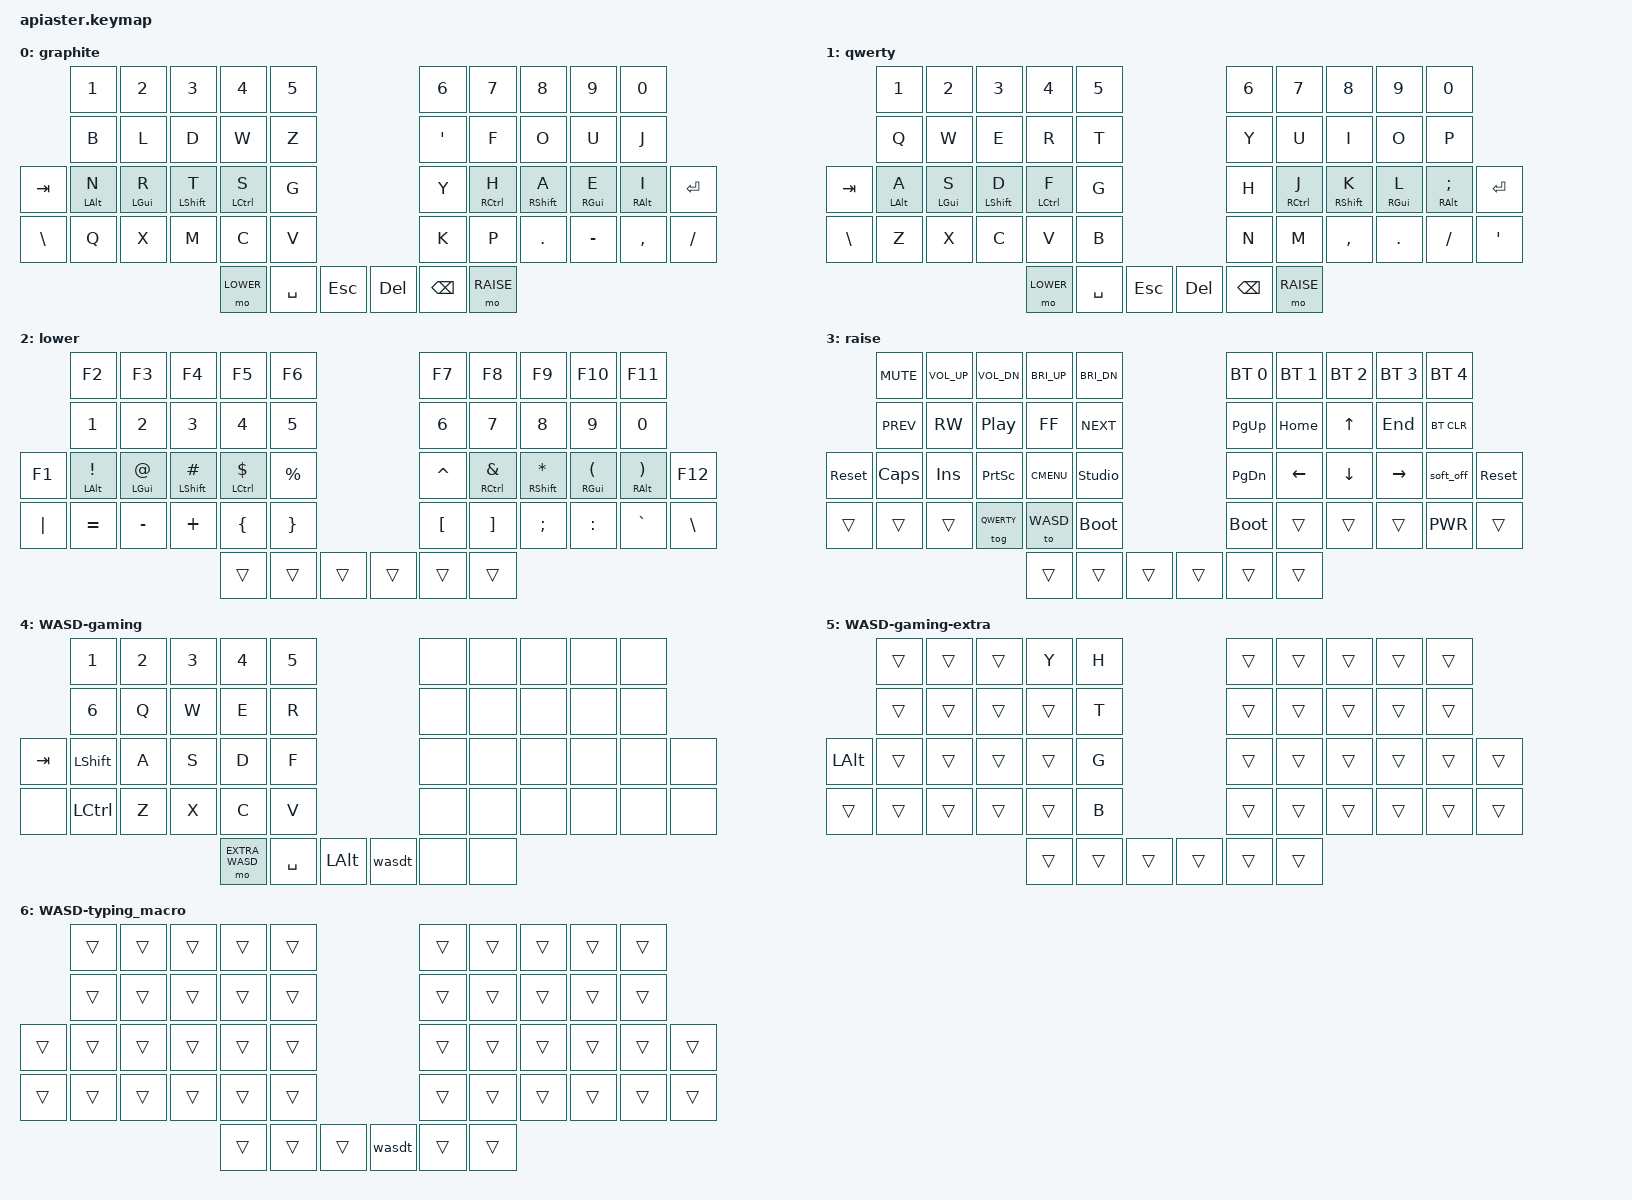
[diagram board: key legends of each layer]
#include <behaviors.dtsi>
#include <dt-bindings/zmk/keys.h>
#include <dt-bindings/zmk/bt.h>

#define BASE 0
#define QWERTY 1
#define LOWER 2
#define RAISE 3
#define WASD 4
#define EXTRA_WASD 5
#define WASD_TYPE 6

#define KEYS_L 0 1 2 3 4 10 11 12 13 14 20 21 22 23 24 25 32 33 34 35 36 37
#define KEYS_R 5 6 7 8 9 15 16 17 18 19 26 27 28 29 30 31 38 39 40 41 42 43
#define THUMBS_L 44 45 46
#define THUMBS_R 47 48 49

/ {    
    macros {
        wasdt: wasd_type {
            compatible = "zmk,behavior-macro";
            #binding-cells = <0>;
            bindings
                = <&macro_tap &tog WASD &tog WASD_TYPE>;
        };
    };

    behaviors {
        hl: home_row_hold_tap_left {
            compatible = "zmk,behavior-hold-tap";
            #binding-cells = <2>;
            flavor = "balanced";
            tapping-term-ms = <280>;
            quick-tap-ms = <175>;                // repeat on tap-into-hold
            require-prior-idle-ms = <150>;
            bindings = <&kp>, <&kp>;
            hold-trigger-key-positions = <KEYS_R THUMBS_R>;
            hold-trigger-on-release;             // delay positional check until key-release
        };

        hr: home_row_hold_tap_right {
            compatible = "zmk,behavior-hold-tap";
            #binding-cells = <2>;
            flavor = "balanced";
            tapping-term-ms = <280>;
            quick-tap-ms = <175>;                // repeat on tap-into-hold
            require-prior-idle-ms = <150>;
            bindings = <&kp>, <&kp>;
            hold-trigger-key-positions = <KEYS_L THUMBS_L>;
            hold-trigger-on-release;             // delay positional check until key-release
        };

        td_rst: reset_tap_dance {
            compatible = "zmk,behavior-tap-dance";
            #binding-cells = <0>;
            tapping-term-ms = <200>;
            bindings = <&sys_reset>, <&bootloader>;
        };
    };

    keymap {
        compatible = "zmk,keymap";

        graphite_layer {
            display-name = "graphite";
// ------------------------------------------------------------------------------------------------------------
//         |   1   |   2   |    3    |   4    |   5   |              |  6  |   7    |    8    |   9   |   0   |       
//         |   B   |   L   |    D    |   W    |   Z   |              |  '  |   F    |    O    |   U   |   J   |        
// |  TAB  | ALT/N | GUI/R | SHIFT/T | CTRL/S |   G   |              |  Y  | CTRL/H | SHIFT/A | GUI/E | ALT/I | ENTER |
// |   \   |   Q   |   X   |    M    |   C    |   V   |              |  K  |   P    |    .    |   -   |   ,   |   /   |
//                                   | LOWER  | SPACE | ESC |  | DEL |BACK | RAISE  | 
            bindings = <
          &kp N1     &kp N2     &kp N3      &kp N4      &kp N5                      &kp N6    &kp N7      &kp N8      &kp N9     &kp N0
          &kp B      &kp L      &kp D       &kp W       &kp Z                       &kp SQT     &kp F       &kp O       &kp U    &kp J
&kp TAB   &hl LALT N &hl LGUI R &hl LSHFT T &hl LCTRL S &kp G                       &kp Y     &hr RCTRL H &hr RSHFT A &hr RGUI E &hr RALT I &kp ENTER
&kp BSLH  &kp Q      &kp X      &kp M       &kp C       &kp V                       &kp K     &kp P       &kp DOT   &kp MINUS    &kp COMMA  &kp FSLH
                                            &mo LOWER   &kp SPACE &kp ESC &kp DEL &kp BSPC &mo RAISE
            >;
        };

        qwerty_layer {
            display-name = "qwerty";
// ------------------------------------------------------------------------------------------------------------
//         |   1   |   2   |    3    |   4    |   5   |              |  6  |   7    |    8    |   9   |   0   |       
//         |   Q   |   W   |    E    |   R    |   T   |              |  Y  |   U    |    I    |   O   |   P   |        
// |  TAB  | ALT/A | GUI/S | SHIFT/D | CTRL/F |   G   |              |  H  | CTRL/J | SHIFT/K | GUI/L | ALT/; | ENTER |
// |   \   |   Z   |   X   |    C    |   V    |   B   |              |  N  |   M    |    ,    |   .   |   /   |   '   |
//                                   | LOWER  | SPACE | ESC |  | DEL |BACK | RAISE  | 
            bindings = <
          &kp N1     &kp N2     &kp N3      &kp N4      &kp N5                      &kp N6    &kp N7      &kp N8      &kp N9     &kp N0
          &kp Q      &kp W      &kp E       &kp R       &kp T                       &kp Y     &kp U       &kp I       &kp O      &kp P
&kp TAB   &hl LALT A &hl LGUI S &hl LSHFT D &hl LCTRL F &kp G                       &kp H     &hr RCTRL J &hr RSHFT K &hr RGUI L &hr RALT SEMI &kp ENTER
&kp BSLH &kp Z      &kp X      &kp C       &kp V       &kp B                       &kp N     &kp M       &kp COMMA   &kp DOT    &kp FSLH      &kp SQT
                                            &mo LOWER   &kp SPACE &kp ESC &kp DEL &kp BSPC &mo RAISE
            >;
        };

        lower_layer {
            display-name = "lower";
// ------------------------------------------------------------------------------------------------------------
// |       |  F1 |  F2 |  F3  |  F4  |  F5  |                   |  F6  |  F7   |  F8   |  F9  |  F10  |       |
// |       |  1  |  2  |  3   |  4   |  5   |                   |  6   |  7    |  8    |  9   |   0   |       |
// |   `   |  !  |  @  |  #   |  $   |  %   |                   |  ^   |  &    |  *    |  (   |   )   |  F11  |
// |   |   |  =  |  -  |  +   |  {   |  }   |                   |  [   |  ]    |  ;    |  :   |   \   |  F12  |
//               |     |      |      |      |        |  |       |      |       |       |      |
            bindings = <
         &kp F2        &kp F3      &kp F4         &kp F5         &kp F6                  &kp F7    &kp F8         &kp F9          &kp F10       &kp F11   
         &kp N1        &kp N2      &kp N3         &kp N4         &kp N5                  &kp N6    &kp N7         &kp N8          &kp N9        &kp N0    
&kp F1   &hl LALT EXCL &hl LGUI AT &hl LSHFT HASH &hl LCTRL DLLR &kp PRCNT               &kp CARET &hr RCTRL AMPS &hr RSHFT ASTRK &hr RGUI LPAR &hr RALT RPAR &kp F12
&kp PIPE &kp EQUAL     &kp MINUS   &kp PLUS       &kp LBRC       &kp RBRC                &kp LBKT  &kp RBKT       &kp SEMI        &kp COLON     &kp GRAVE     &kp BSLH 
                                                   &trans         &trans    &trans &trans &trans    &trans     
            >;
        };

        raise_layer {
            display-name = "raise";
// ------------------------------------------------------------------------------------------------------------
//         | MUTE | VOL+   |  VOL-   | BRI+        |  BRI-  |                |  BT 0 | BT 1 |  BT 2 | BT 3 | BT 4     | 
//         | PREV | REWIND | PAUSE   | FASTFORWARD |  NEXT  |                | PGUP  | HOME |   ^   | END  | BT CLEAR |       
// | reset | CAPS | INS    | PRNTSCR | MENU        | studio |                | PGDN  |   <- |   v   |  ->  |  off     | reset |
// |       |      |        | QWERTY  | WASD        |  boot  |                | boot  |      |       |      |  POWER   | reset |
//                                   |             |        |      |  |      |       |      |
            bindings = <
          &kp C_MUTE &kp C_VOL_UP &kp C_VOL_DN &kp C_BRI_UP &kp  C_BRI_DN                &bt BT_SEL 0 &bt BT_SEL 1 &bt BT_SEL 2 &bt BT_SEL 3 &bt BT_SEL 4                 
          &kp C_PREV &kp C_RW     &kp C_PP     &kp C_FF     &kp C_NEXT                   &kp PG_UP    &kp HOME     &kp UP       &kp END      &bt BT_CLR
&sys_reset &kp CLCK   &kp INS      &kp PSCRN    &kp K_CMENU  &studio_unlock               &kp PG_DN    &kp LEFT     &kp DOWN     &kp RIGHT    &soft_off   &sys_reset
&trans    &trans     &trans       &tog QWERTY  &to WASD     &bootloader                  &bootloader  &trans       &trans       &trans       &kp C_PWR   &trans
                                               &trans       &trans         &trans &trans &trans       &trans 
            >;
        };
      

        wasd_layer {
            display-name = "WASD-gaming";
// ------------------------------------------------------------------------------------------------------------
//         | MUTE | VOL+   |  VOL-   | BRI+        |  BRI-  |                |  BT 0 | BT 1 |  BT 2 | BT 3 | BT 4     | 
//         | PREV | REWIND | PAUSE   | FASTFORWARD |  NEXT  |                | PGUP  | HOME |   ^   | END  | BT CLEAR |       
// | reset | CAPS | INS    | PRNTSCR | MENU        | studio |                | PGDN  |   <- |   v   |  ->  |  off     | reset |
// |       |      |        |         | QWERTY      |  boot  |                | boot  |      |       |      |  POWER   | reset |
//                                   |             |        |      |  |      |       |      |
            bindings = <
          &kp N1     &kp N2   &kp N3   &kp N4   &kp N5                             &none  &none  &none  &none  &none 
          &kp N6     &kp Q    &kp W    &kp E    &kp R                             &none  &none  &none  &none  &none 
&kp TAB   &kp LSHFT  &kp A    &kp S    &kp D    &kp F                             &none  &none  &none  &none  &none &none 
&none     &kp LCTRL  &kp Z    &kp X    &kp C    &kp V                             &none  &none  &none  &none  &none &none 
                                       &mo EXTRA_WASD &kp SPACE &kp LALT   &wasdt  &none  &none 
            >;
        };

        extra_wasd_layer {
            display-name = "WASD-gaming-extra";
// ---------------------------------------------------
//         |      |       |     |   Y  |  H   |     
//         |      |       |     |      |  T   |           
// |  ALT  |      |       |     |      |  G   |  
// |       |      |       |     |      |  B   |  
//                              |      |      |        |    
            bindings = <
          &trans     &trans   &trans   &kp Y    &kp H                  &trans    &trans  &trans  &trans  &trans  
          &trans     &trans   &trans   &trans   &kp T                  &trans    &trans  &trans  &trans  &trans  
&kp LALT  &trans     &trans   &trans   &trans   &kp G                  &trans    &trans  &trans  &trans  &trans   &trans  
&trans    &trans     &trans   &trans   &trans   &kp B                  &trans    &trans  &trans  &trans  &trans   &trans  
                                       &trans   &trans  &trans  &trans &trans    &trans
            >;
        };
        wasd_type_layer {
            display-name = "WASD-typing_macro";
// ---------------------------------------------------
//         |      |       |     |   Y  |  H   |     
//         |      |       |     |      |  T   |           
// |  ALT  |      |       |     |      |  G   |  
// |       |      |       |     |      |  B   |  
//                              |      |      |        |     
            bindings = <
          &trans     &trans   &trans   &trans   &trans                 &trans    &trans  &trans  &trans  &trans  
          &trans     &trans   &trans   &trans   &trans                 &trans    &trans  &trans  &trans  &trans  
&trans    &trans     &trans   &trans   &trans   &trans                 &trans    &trans  &trans  &trans  &trans   &trans  
&trans    &trans     &trans   &trans   &trans   &trans                 &trans    &trans  &trans  &trans  &trans   &trans  
                                       &trans   &trans  &trans  &wasdt &trans    &trans
            >;
        };

        extra1 {
            status = "reserved";
        };

        extra2 {
            status = "reserved";
        };

        extra3 {
            status = "reserved";
        };

        extra4 {
            status = "reserved";
        };

        extra5 {
            status = "reserved";
        };
    };
};
&kscan0 {
    /delete-property/ interrupt-gpios;
};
